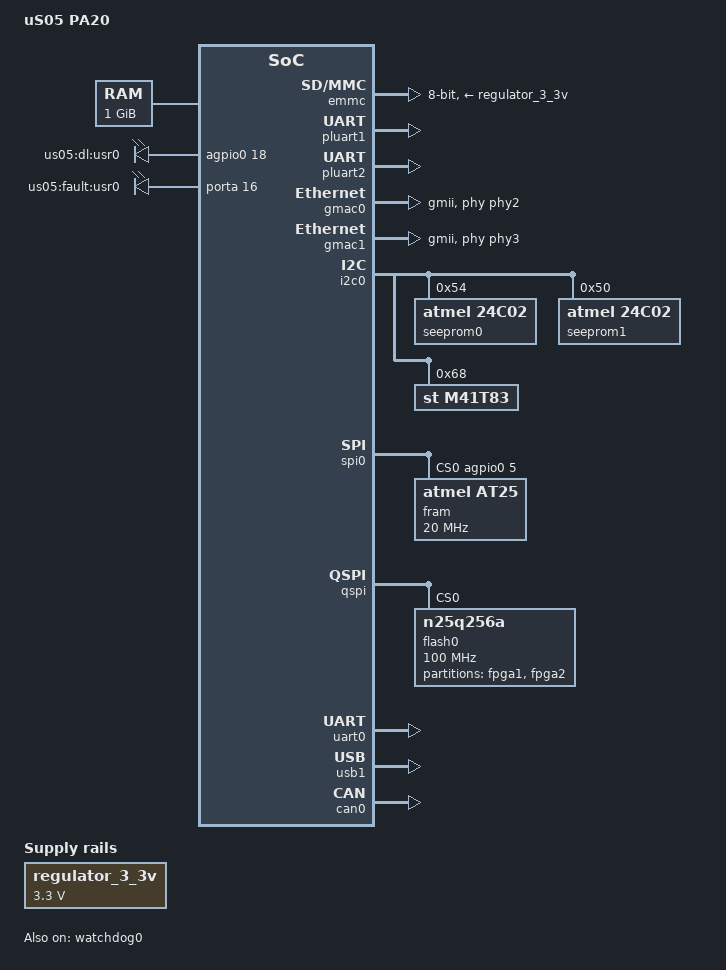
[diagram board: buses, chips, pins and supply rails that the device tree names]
/*
 * Copyright Altera Corporation (C) 2015. All rights reserved.
 *
 * This program is free software; you can redistribute it and/or modify
 * it under the terms and conditions of the GNU General Public License,
 * version 2, as published by the Free Software Foundation.
 *
 * This program is distributed in the hope it will be useful, but WITHOUT
 * ANY WARRANTY; without even the implied warranty of MERCHANTABILITY or
 * FITNESS FOR A PARTICULAR PURPOSE.  See the GNU General Public License for
 * more details.
 *
 * You should have received a copy of the GNU General Public License along with
 * this program.  If not, see <http://www.gnu.org/licenses/>.
 */

/dts-v1/;
/* First 4KB has trampoline code for secondary cores. */
/memreserve/ 0x00000000 0x0001000;
#include "socfpga.dtsi"

/ {
	soc {
		clkmgr@ffd04000 {
			clocks {
				osc1 {
					clock-frequency = <25000000>;
				};
				
				eth_tse_dma_0_clk_0: eth_tse_dma_0_clk_0 {
					compatible = "fixed-clock";
					#clock-cells = <0>;
					clock-frequency = <50000000>;	/* 50.00 MHz */
					clock-output-names = "eth_tse_dma_0_clk_0-clk";
				}; //end eth_tse_dma_0_clk_0 (eth_tse_dma_0_clk_0)
			};
		};

		emmc: dwmmc0@ff704000 {
			num-slots = <1>;
			broken-cd;
			bus-width = <8>;
			cap-mmc-highspeed;
			cap-sd-highspeed;
		};

		sysmgr@ffd08000 {
			cpu1-start-addr = <0xffd080c4>;
		};
	};
};

&watchdog0 {
	status = "okay";
};


/ {
	model = "uS05 PA20";
	compatible = "altr,socfpga-cyclone5", "altr,socfpga";

	memory {
		name = "memory";
		device_type = "memory";
		reg = <0x0 0x40000000>; /* 1GB */
	};

	aliases {
		ethernet0 = &eth_tse_dma_0_eth_tse_0;
		ethernet1 = &gmac0;
		ethernet2 = &gmac1;
		mmc0 = &ulti_sdc_0;
		mmc1 = &emmc;
		serial0 = &uart0;
		serial1 = &pluart1;
		serial2 = &pluart2;
		serial3 = &uart1;
		spi0 = &spi0;
	};

	regulator_3_3v: 3-3-v-regulator {
		compatible = "regulator-fixed";
		regulator-name = "3.3V";
		regulator-min-microvolt = <3300000>;
		regulator-max-microvolt = <3300000>;
	};

	ulti_sdc_0: ulti_sdc@0xFF230000 {
		compatible = "EXOR,ulti_sdc-13.1", "EXOR,ulti_sdc-1.0", "exor,ulti_sdc-1.0", "sdhci-ultimmc";
		reg = < 0xFF230000 0x0000ffff >;
		interrupt-parent = <&intc>;
		interrupts = < 0 43 4 >;
	}; //end ulti_sdc@0x100030000 (ulti_sdc_0)

	agpio0: gpio@0xff210010 {
		compatible = "altr,pio-1.0";
		reg = <0xff210010 0x10>;
		interrupts = <0 44 4>;
		width=<32>;
		altr,interrupt_type = < 4 >;
		#gpio-cells = <2>;
		gpio-controller;
		#interrupt-cells = <1>;
		interrupt-controller;
	};	

	leds { 
		compatible = "gpio-leds";
		status = "okay";

		led@1 {
			label = "us05:dl:usr0";
			gpios = <&agpio0 18 0>;
			default-state = "on";
		};

		led@2 {
			label = "us05:fault:usr0";
			gpios = <&porta 16 0>;
			default-state = "off";
		};
	};

	working_hours {
		compatible = "working_hours";
		nvmem-names = "eeprom", "rtcnvram";
		nvmem = <&seeprom0>, <&m41t83>;
		status = "okay";
	};

	pluart1: pluart@0xff200800 {
		compatible = "altr,16550-FIFO128";
		reg = <0xff220000 0x200>;
		clock-frequency = <50000000>;
		interrupt-parent = <&intc>;
		interrupts = <0 40 4>;
		reg-shift = <2>;
		reg-io-width = <4>;
		status = "okay";
	};

	pluart2: pluart@0xff200a00 {
		compatible = "altr,16550-FIFO128";
		reg = <0xff220200 0x200>;
		clock-frequency = <50000000>;
		interrupt-parent = <&intc>;
		interrupts = <0 41 4>;
		reg-shift = <2>;
		reg-io-width = <4>;
		status = "okay";
	};
	
	eth_tse_dma_0_eth_tse_0: ethernet@0xff200000 {
		compatible = "altr,tse-msgdma-17.1", "altr,tse-msgdma-1.0", "altr,tse-1.0";
		reg = <0xff200000 0x00000400>,
		      <0xff200460 0x00000020>,
		      <0xff200440 0x00000020>,
		      <0xff200490 0x00000008>,
		      <0xff200420 0x00000020>,
		      <0xff200400 0x00000020>;
		      reg-names = "control_port", "rx_csr", "rx_desc", "rx_resp", "tx_csr", "tx_desc";
		      interrupt-parent = <&intc>;
		      interrupts = <0 42 4 0 45 4>;
		      interrupt-names = "rx_irq", "tx_irq";
		      clocks = <&main_pll 0 &eth_tse_dma_0_clk_0 &eth_tse_dma_0_clk_0 &eth_tse_dma_0_clk_0>;
		      clock-names = "control_port_clock_connection", "pcs_mac_tx_clock_connection", "receive_clock_connection", "transmit_clock_connection";
		      ALTR,rx-fifo-depth = <2048>;	/* embeddedsw.dts.params.ALTR,rx-fifo-depth type NUMBER */
		      ALTR,tx-fifo-depth = <2048>;	/* embeddedsw.dts.params.ALTR,tx-fifo-depth type NUMBER */
		      rx-fifo-depth = <8192>;	/* embeddedsw.dts.params.rx-fifo-depth type NUMBER */
		      tx-fifo-depth = <8192>;	/* embeddedsw.dts.params.tx-fifo-depth type NUMBER */
		      address-bits = <48>;
		      max-frame-size = <1518>;
		      mac-address = [00 00 00 00 00 00];
		      altr,has-supplementary-unicast;
		      altr,enable-sup-addr = <1>;
		      altr,has-hash-multicast-filter;
		      altr,enable-hash = <1>;
		      phy-connection-type = "rgmii-rxid";
		      phy-handle = <&phy1>;

		      eth_tse_dma_0_eth_tse_0_mdio: mdio {
				compatible = "altr,tse-mdio";
				#address-cells = <1>;
				#size-cells = <0>;
				phy1: ethernet-phy@1 {
					compatible = "ethernet-phy-ieee802.3-c22";
					ti,rx-internal-delay = <4>;	// 1 ns
					device_type = "ethernet-phy";
					ledcr1 = /bits/ 16 <0xbbb>;
					enet-phy-gigabit-disabled; //1Gbit speed mode temporary disabled 
					reg = <1>;
				};
				phy2: ethernet-phy@2 {
					compatible = "ethernet-phy-ieee802.3-c22";
					device_type = "ethernet-phy";
					ledcr1 = /bits/ 16 <0xbbb>;
					enet-phy-gigabit-disabled; //1Gbit speed mode temporary disabled
					reg = <2>;
				};
				phy3: ethernet-phy@3 {
					compatible = "ethernet-phy-ieee802.3-c22";
					device_type = "ethernet-phy";
					ledcr1 = /bits/ 16 <0xbbb>;
					enet-phy-gigabit-disabled; //1Gbit speed mode temporary disabled
					reg = <3>;
				};
			};
		}; //end ethernet@0xff200000 (eth_tse_dma_0_eth_tse_0)	
};

/* This MAC is disabled in dtb by u-boot if necessary */
&gmac0 {
	phy-mode = "gmii";
	gmii-to-rgmii-adapter-address = <0xff240000>;
	phy-handle = <&phy2>;
	status = "okay";
};

/* This MAC is disabled in dtb by u-boot if necessary */
&gmac1 {
	phy-mode = "gmii";
	gmii-to-rgmii-adapter-address = <0xff240010>;
	phy-handle = <&phy3>;
	status = "okay";
};

&gpio0 {
	status = "okay";
};

&gpio1 {
	status = "okay";
};

&gpio2 {
	status = "okay";
};

&i2c0 {
	status = "okay";
	speed-mode = <0>;

	seeprom0:seeprom0@54 {
		compatible = "atmel,24c02";
		reg = <0x54>;
	};

	seeprom1:seeprom1@50 {
		compatible = "atmel,24c02";
		reg = <0x50>;
	};

	m41t83:m41t83@68 {
		compatible = "st,m41t83";
		reg = <0x68>;
	};
};

&spi0 {
	status = "okay";
	num-cs = <1>;
	bus-num = <0>;
	cs-gpios = <&agpio0 5 0>;

	fram: at25@2 {
		compatible = "atmel,at25", "st,m95256";
		reg = <0>;
		spi-max-frequency = <20000000>;
		pagesize = <64>;
		size = <65536>;
		address-width = <16>;
	};
};

&qspi {
	status = "okay";
	flash0: n25q256a@0 {
		#address-cells = <1>;
		#size-cells = <1>;
		compatible = "n25q256a";
		reg = <0>;      /* chip select */
		spi-max-frequency = <100000000>;
		m25p,fast-read;
		page-size = <256>; 
		block-size = <16>; /* 2^16, 64KB */
		cdns,read-delay = <4>;  /* delay value in read data capture register */
		cdns,tshsl-ns = <50>;
		cdns,tsd2d-ns = <50>;
		cdns,tchsh-ns = <4>;
		cdns,tslch-ns = <4>;

		partition@qspi-fpga1 {
		/* 16MB for raw FPGA image. */
		label = "fpga1";
		reg = <0x0 0x1000000>;
		};

		partition@qspi-fpga2 {
		/* 4MB for aux storage (at offset 0x0 we have the flag indicating which FPGA img to be loaded */
		label = "fpga2";
		reg = <0x1000000 0x400000>;
		};
	};
};

&uart0 {
	status = "okay";
	rts-gpio = <&agpio0 13 0>;
	mode-gpio = <&agpio0 12 0>;
	rxen-gpio = <&agpio0 14 0>;
	rs485-rts-active-high;
};

&usb1 {
	status = "okay";
};

&can0 {
  status = "okay";
};

&emmc {
	vmmc-supply = <&regulator_3_3v>;
	vqmmc-supply = <&regulator_3_3v>;

	num-slots = <1>;
	supports-highspeed;
	broken-cd;
	altr,dw-mshc-ciu-div = <3>;
	altr,dw-mshc-sdr-timing = <0 3>;
	status = "okay";

	slot@0 {
		reg = <0>;
		bus-width = <8>;
	};
};

